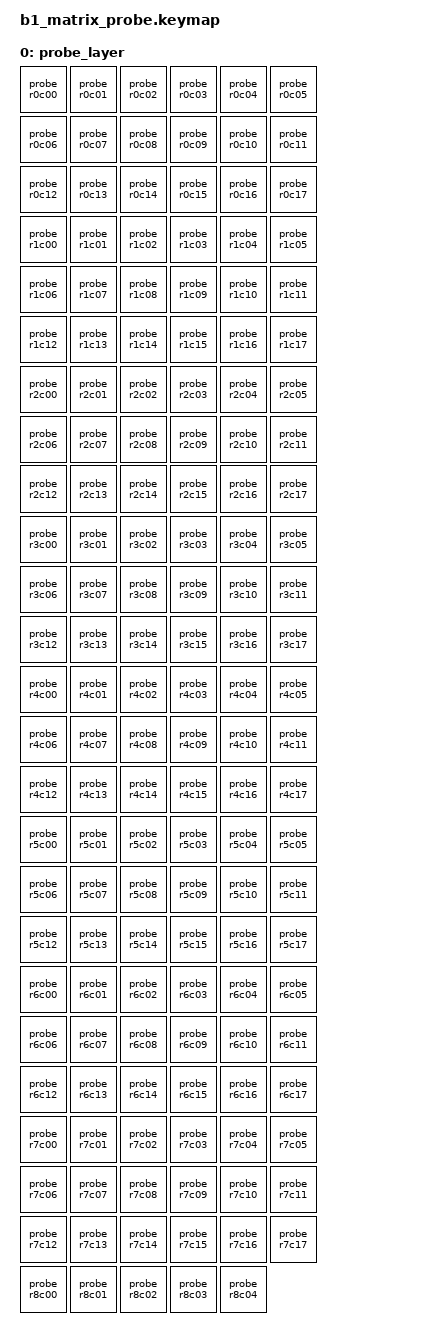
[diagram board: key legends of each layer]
/*
 * Keychron B1 Pro matrix probe keymap
 *
 * Every electrical scan coordinate emits a token of the form:
 *   RrCcc<space>
 *
 * Example:
 *   R0C00 R3C14 R7C05
 *
 * The final five entries (R8C00..R8C04) are the direct GPIO inputs
 * in Keychron's composite scanner.
 *
 * IMPORTANT: This is diagnostic firmware, not a usable typing layout.
 */

#include <behaviors.dtsi>
#include <dt-bindings/zmk/keys.h>

#include <dt-bindings/zmk/outputs.h>

/ {
    /*
     * Keychron's behavior_outputs node is declared /omit-if-no-ref/.
     * Several Keychron-specific source files call helper functions that are
     * implemented by behavior_outputs.c, so keep a DT reference to &out even
     * though the diagnostic layer itself does not use output switching.
     */
    ZMK_MACRO(probe_keep_outputs, bindings = <&out OUT_BLE>;)

    ZMK_MACRO(probe_r0c00, bindings = <&kp R &kp N0 &kp C &kp N0 &kp N0 &kp SPACE>;)
    ZMK_MACRO(probe_r0c01, bindings = <&kp R &kp N0 &kp C &kp N0 &kp N1 &kp SPACE>;)
    ZMK_MACRO(probe_r0c02, bindings = <&kp R &kp N0 &kp C &kp N0 &kp N2 &kp SPACE>;)
    ZMK_MACRO(probe_r0c03, bindings = <&kp R &kp N0 &kp C &kp N0 &kp N3 &kp SPACE>;)
    ZMK_MACRO(probe_r0c04, bindings = <&kp R &kp N0 &kp C &kp N0 &kp N4 &kp SPACE>;)
    ZMK_MACRO(probe_r0c05, bindings = <&kp R &kp N0 &kp C &kp N0 &kp N5 &kp SPACE>;)
    ZMK_MACRO(probe_r0c06, bindings = <&kp R &kp N0 &kp C &kp N0 &kp N6 &kp SPACE>;)
    ZMK_MACRO(probe_r0c07, bindings = <&kp R &kp N0 &kp C &kp N0 &kp N7 &kp SPACE>;)
    ZMK_MACRO(probe_r0c08, bindings = <&kp R &kp N0 &kp C &kp N0 &kp N8 &kp SPACE>;)
    ZMK_MACRO(probe_r0c09, bindings = <&kp R &kp N0 &kp C &kp N0 &kp N9 &kp SPACE>;)
    ZMK_MACRO(probe_r0c10, bindings = <&kp R &kp N0 &kp C &kp N1 &kp N0 &kp SPACE>;)
    ZMK_MACRO(probe_r0c11, bindings = <&kp R &kp N0 &kp C &kp N1 &kp N1 &kp SPACE>;)
    ZMK_MACRO(probe_r0c12, bindings = <&kp R &kp N0 &kp C &kp N1 &kp N2 &kp SPACE>;)
    ZMK_MACRO(probe_r0c13, bindings = <&kp R &kp N0 &kp C &kp N1 &kp N3 &kp SPACE>;)
    ZMK_MACRO(probe_r0c14, bindings = <&kp R &kp N0 &kp C &kp N1 &kp N4 &kp SPACE>;)
    ZMK_MACRO(probe_r0c15, bindings = <&kp R &kp N0 &kp C &kp N1 &kp N5 &kp SPACE>;)
    ZMK_MACRO(probe_r0c16, bindings = <&kp R &kp N0 &kp C &kp N1 &kp N6 &kp SPACE>;)
    ZMK_MACRO(probe_r0c17, bindings = <&kp R &kp N0 &kp C &kp N1 &kp N7 &kp SPACE>;)
    ZMK_MACRO(probe_r1c00, bindings = <&kp R &kp N1 &kp C &kp N0 &kp N0 &kp SPACE>;)
    ZMK_MACRO(probe_r1c01, bindings = <&kp R &kp N1 &kp C &kp N0 &kp N1 &kp SPACE>;)
    ZMK_MACRO(probe_r1c02, bindings = <&kp R &kp N1 &kp C &kp N0 &kp N2 &kp SPACE>;)
    ZMK_MACRO(probe_r1c03, bindings = <&kp R &kp N1 &kp C &kp N0 &kp N3 &kp SPACE>;)
    ZMK_MACRO(probe_r1c04, bindings = <&kp R &kp N1 &kp C &kp N0 &kp N4 &kp SPACE>;)
    ZMK_MACRO(probe_r1c05, bindings = <&kp R &kp N1 &kp C &kp N0 &kp N5 &kp SPACE>;)
    ZMK_MACRO(probe_r1c06, bindings = <&kp R &kp N1 &kp C &kp N0 &kp N6 &kp SPACE>;)
    ZMK_MACRO(probe_r1c07, bindings = <&kp R &kp N1 &kp C &kp N0 &kp N7 &kp SPACE>;)
    ZMK_MACRO(probe_r1c08, bindings = <&kp R &kp N1 &kp C &kp N0 &kp N8 &kp SPACE>;)
    ZMK_MACRO(probe_r1c09, bindings = <&kp R &kp N1 &kp C &kp N0 &kp N9 &kp SPACE>;)
    ZMK_MACRO(probe_r1c10, bindings = <&kp R &kp N1 &kp C &kp N1 &kp N0 &kp SPACE>;)
    ZMK_MACRO(probe_r1c11, bindings = <&kp R &kp N1 &kp C &kp N1 &kp N1 &kp SPACE>;)
    ZMK_MACRO(probe_r1c12, bindings = <&kp R &kp N1 &kp C &kp N1 &kp N2 &kp SPACE>;)
    ZMK_MACRO(probe_r1c13, bindings = <&kp R &kp N1 &kp C &kp N1 &kp N3 &kp SPACE>;)
    ZMK_MACRO(probe_r1c14, bindings = <&kp R &kp N1 &kp C &kp N1 &kp N4 &kp SPACE>;)
    ZMK_MACRO(probe_r1c15, bindings = <&kp R &kp N1 &kp C &kp N1 &kp N5 &kp SPACE>;)
    ZMK_MACRO(probe_r1c16, bindings = <&kp R &kp N1 &kp C &kp N1 &kp N6 &kp SPACE>;)
    ZMK_MACRO(probe_r1c17, bindings = <&kp R &kp N1 &kp C &kp N1 &kp N7 &kp SPACE>;)
    ZMK_MACRO(probe_r2c00, bindings = <&kp R &kp N2 &kp C &kp N0 &kp N0 &kp SPACE>;)
    ZMK_MACRO(probe_r2c01, bindings = <&kp R &kp N2 &kp C &kp N0 &kp N1 &kp SPACE>;)
    ZMK_MACRO(probe_r2c02, bindings = <&kp R &kp N2 &kp C &kp N0 &kp N2 &kp SPACE>;)
    ZMK_MACRO(probe_r2c03, bindings = <&kp R &kp N2 &kp C &kp N0 &kp N3 &kp SPACE>;)
    ZMK_MACRO(probe_r2c04, bindings = <&kp R &kp N2 &kp C &kp N0 &kp N4 &kp SPACE>;)
    ZMK_MACRO(probe_r2c05, bindings = <&kp R &kp N2 &kp C &kp N0 &kp N5 &kp SPACE>;)
    ZMK_MACRO(probe_r2c06, bindings = <&kp R &kp N2 &kp C &kp N0 &kp N6 &kp SPACE>;)
    ZMK_MACRO(probe_r2c07, bindings = <&kp R &kp N2 &kp C &kp N0 &kp N7 &kp SPACE>;)
    ZMK_MACRO(probe_r2c08, bindings = <&kp R &kp N2 &kp C &kp N0 &kp N8 &kp SPACE>;)
    ZMK_MACRO(probe_r2c09, bindings = <&kp R &kp N2 &kp C &kp N0 &kp N9 &kp SPACE>;)
    ZMK_MACRO(probe_r2c10, bindings = <&kp R &kp N2 &kp C &kp N1 &kp N0 &kp SPACE>;)
    ZMK_MACRO(probe_r2c11, bindings = <&kp R &kp N2 &kp C &kp N1 &kp N1 &kp SPACE>;)
    ZMK_MACRO(probe_r2c12, bindings = <&kp R &kp N2 &kp C &kp N1 &kp N2 &kp SPACE>;)
    ZMK_MACRO(probe_r2c13, bindings = <&kp R &kp N2 &kp C &kp N1 &kp N3 &kp SPACE>;)
    ZMK_MACRO(probe_r2c14, bindings = <&kp R &kp N2 &kp C &kp N1 &kp N4 &kp SPACE>;)
    ZMK_MACRO(probe_r2c15, bindings = <&kp R &kp N2 &kp C &kp N1 &kp N5 &kp SPACE>;)
    ZMK_MACRO(probe_r2c16, bindings = <&kp R &kp N2 &kp C &kp N1 &kp N6 &kp SPACE>;)
    ZMK_MACRO(probe_r2c17, bindings = <&kp R &kp N2 &kp C &kp N1 &kp N7 &kp SPACE>;)
    ZMK_MACRO(probe_r3c00, bindings = <&kp R &kp N3 &kp C &kp N0 &kp N0 &kp SPACE>;)
    ZMK_MACRO(probe_r3c01, bindings = <&kp R &kp N3 &kp C &kp N0 &kp N1 &kp SPACE>;)
    ZMK_MACRO(probe_r3c02, bindings = <&kp R &kp N3 &kp C &kp N0 &kp N2 &kp SPACE>;)
    ZMK_MACRO(probe_r3c03, bindings = <&kp R &kp N3 &kp C &kp N0 &kp N3 &kp SPACE>;)
    ZMK_MACRO(probe_r3c04, bindings = <&kp R &kp N3 &kp C &kp N0 &kp N4 &kp SPACE>;)
    ZMK_MACRO(probe_r3c05, bindings = <&kp R &kp N3 &kp C &kp N0 &kp N5 &kp SPACE>;)
    ZMK_MACRO(probe_r3c06, bindings = <&kp R &kp N3 &kp C &kp N0 &kp N6 &kp SPACE>;)
    ZMK_MACRO(probe_r3c07, bindings = <&kp R &kp N3 &kp C &kp N0 &kp N7 &kp SPACE>;)
    ZMK_MACRO(probe_r3c08, bindings = <&kp R &kp N3 &kp C &kp N0 &kp N8 &kp SPACE>;)
    ZMK_MACRO(probe_r3c09, bindings = <&kp R &kp N3 &kp C &kp N0 &kp N9 &kp SPACE>;)
    ZMK_MACRO(probe_r3c10, bindings = <&kp R &kp N3 &kp C &kp N1 &kp N0 &kp SPACE>;)
    ZMK_MACRO(probe_r3c11, bindings = <&kp R &kp N3 &kp C &kp N1 &kp N1 &kp SPACE>;)
    ZMK_MACRO(probe_r3c12, bindings = <&kp R &kp N3 &kp C &kp N1 &kp N2 &kp SPACE>;)
    ZMK_MACRO(probe_r3c13, bindings = <&kp R &kp N3 &kp C &kp N1 &kp N3 &kp SPACE>;)
    ZMK_MACRO(probe_r3c14, bindings = <&kp R &kp N3 &kp C &kp N1 &kp N4 &kp SPACE>;)
    ZMK_MACRO(probe_r3c15, bindings = <&kp R &kp N3 &kp C &kp N1 &kp N5 &kp SPACE>;)
    ZMK_MACRO(probe_r3c16, bindings = <&kp R &kp N3 &kp C &kp N1 &kp N6 &kp SPACE>;)
    ZMK_MACRO(probe_r3c17, bindings = <&kp R &kp N3 &kp C &kp N1 &kp N7 &kp SPACE>;)
    ZMK_MACRO(probe_r4c00, bindings = <&kp R &kp N4 &kp C &kp N0 &kp N0 &kp SPACE>;)
    ZMK_MACRO(probe_r4c01, bindings = <&kp R &kp N4 &kp C &kp N0 &kp N1 &kp SPACE>;)
    ZMK_MACRO(probe_r4c02, bindings = <&kp R &kp N4 &kp C &kp N0 &kp N2 &kp SPACE>;)
    ZMK_MACRO(probe_r4c03, bindings = <&kp R &kp N4 &kp C &kp N0 &kp N3 &kp SPACE>;)
    ZMK_MACRO(probe_r4c04, bindings = <&kp R &kp N4 &kp C &kp N0 &kp N4 &kp SPACE>;)
    ZMK_MACRO(probe_r4c05, bindings = <&kp R &kp N4 &kp C &kp N0 &kp N5 &kp SPACE>;)
    ZMK_MACRO(probe_r4c06, bindings = <&kp R &kp N4 &kp C &kp N0 &kp N6 &kp SPACE>;)
    ZMK_MACRO(probe_r4c07, bindings = <&kp R &kp N4 &kp C &kp N0 &kp N7 &kp SPACE>;)
    ZMK_MACRO(probe_r4c08, bindings = <&kp R &kp N4 &kp C &kp N0 &kp N8 &kp SPACE>;)
    ZMK_MACRO(probe_r4c09, bindings = <&kp R &kp N4 &kp C &kp N0 &kp N9 &kp SPACE>;)
    ZMK_MACRO(probe_r4c10, bindings = <&kp R &kp N4 &kp C &kp N1 &kp N0 &kp SPACE>;)
    ZMK_MACRO(probe_r4c11, bindings = <&kp R &kp N4 &kp C &kp N1 &kp N1 &kp SPACE>;)
    ZMK_MACRO(probe_r4c12, bindings = <&kp R &kp N4 &kp C &kp N1 &kp N2 &kp SPACE>;)
    ZMK_MACRO(probe_r4c13, bindings = <&kp R &kp N4 &kp C &kp N1 &kp N3 &kp SPACE>;)
    ZMK_MACRO(probe_r4c14, bindings = <&kp R &kp N4 &kp C &kp N1 &kp N4 &kp SPACE>;)
    ZMK_MACRO(probe_r4c15, bindings = <&kp R &kp N4 &kp C &kp N1 &kp N5 &kp SPACE>;)
    ZMK_MACRO(probe_r4c16, bindings = <&kp R &kp N4 &kp C &kp N1 &kp N6 &kp SPACE>;)
    ZMK_MACRO(probe_r4c17, bindings = <&kp R &kp N4 &kp C &kp N1 &kp N7 &kp SPACE>;)
    ZMK_MACRO(probe_r5c00, bindings = <&kp R &kp N5 &kp C &kp N0 &kp N0 &kp SPACE>;)
    ZMK_MACRO(probe_r5c01, bindings = <&kp R &kp N5 &kp C &kp N0 &kp N1 &kp SPACE>;)
    ZMK_MACRO(probe_r5c02, bindings = <&kp R &kp N5 &kp C &kp N0 &kp N2 &kp SPACE>;)
    ZMK_MACRO(probe_r5c03, bindings = <&kp R &kp N5 &kp C &kp N0 &kp N3 &kp SPACE>;)
    ZMK_MACRO(probe_r5c04, bindings = <&kp R &kp N5 &kp C &kp N0 &kp N4 &kp SPACE>;)
    ZMK_MACRO(probe_r5c05, bindings = <&kp R &kp N5 &kp C &kp N0 &kp N5 &kp SPACE>;)
    ZMK_MACRO(probe_r5c06, bindings = <&kp R &kp N5 &kp C &kp N0 &kp N6 &kp SPACE>;)
    ZMK_MACRO(probe_r5c07, bindings = <&kp R &kp N5 &kp C &kp N0 &kp N7 &kp SPACE>;)
    ZMK_MACRO(probe_r5c08, bindings = <&kp R &kp N5 &kp C &kp N0 &kp N8 &kp SPACE>;)
    ZMK_MACRO(probe_r5c09, bindings = <&kp R &kp N5 &kp C &kp N0 &kp N9 &kp SPACE>;)
    ZMK_MACRO(probe_r5c10, bindings = <&kp R &kp N5 &kp C &kp N1 &kp N0 &kp SPACE>;)
    ZMK_MACRO(probe_r5c11, bindings = <&kp R &kp N5 &kp C &kp N1 &kp N1 &kp SPACE>;)
    ZMK_MACRO(probe_r5c12, bindings = <&kp R &kp N5 &kp C &kp N1 &kp N2 &kp SPACE>;)
    ZMK_MACRO(probe_r5c13, bindings = <&kp R &kp N5 &kp C &kp N1 &kp N3 &kp SPACE>;)
    ZMK_MACRO(probe_r5c14, bindings = <&kp R &kp N5 &kp C &kp N1 &kp N4 &kp SPACE>;)
    ZMK_MACRO(probe_r5c15, bindings = <&kp R &kp N5 &kp C &kp N1 &kp N5 &kp SPACE>;)
    ZMK_MACRO(probe_r5c16, bindings = <&kp R &kp N5 &kp C &kp N1 &kp N6 &kp SPACE>;)
    ZMK_MACRO(probe_r5c17, bindings = <&kp R &kp N5 &kp C &kp N1 &kp N7 &kp SPACE>;)
    ZMK_MACRO(probe_r6c00, bindings = <&kp R &kp N6 &kp C &kp N0 &kp N0 &kp SPACE>;)
    ZMK_MACRO(probe_r6c01, bindings = <&kp R &kp N6 &kp C &kp N0 &kp N1 &kp SPACE>;)
    ZMK_MACRO(probe_r6c02, bindings = <&kp R &kp N6 &kp C &kp N0 &kp N2 &kp SPACE>;)
    ZMK_MACRO(probe_r6c03, bindings = <&kp R &kp N6 &kp C &kp N0 &kp N3 &kp SPACE>;)
    ZMK_MACRO(probe_r6c04, bindings = <&kp R &kp N6 &kp C &kp N0 &kp N4 &kp SPACE>;)
    ZMK_MACRO(probe_r6c05, bindings = <&kp R &kp N6 &kp C &kp N0 &kp N5 &kp SPACE>;)
    ZMK_MACRO(probe_r6c06, bindings = <&kp R &kp N6 &kp C &kp N0 &kp N6 &kp SPACE>;)
    ZMK_MACRO(probe_r6c07, bindings = <&kp R &kp N6 &kp C &kp N0 &kp N7 &kp SPACE>;)
    ZMK_MACRO(probe_r6c08, bindings = <&kp R &kp N6 &kp C &kp N0 &kp N8 &kp SPACE>;)
    ZMK_MACRO(probe_r6c09, bindings = <&kp R &kp N6 &kp C &kp N0 &kp N9 &kp SPACE>;)
    ZMK_MACRO(probe_r6c10, bindings = <&kp R &kp N6 &kp C &kp N1 &kp N0 &kp SPACE>;)
    ZMK_MACRO(probe_r6c11, bindings = <&kp R &kp N6 &kp C &kp N1 &kp N1 &kp SPACE>;)
    ZMK_MACRO(probe_r6c12, bindings = <&kp R &kp N6 &kp C &kp N1 &kp N2 &kp SPACE>;)
    ZMK_MACRO(probe_r6c13, bindings = <&kp R &kp N6 &kp C &kp N1 &kp N3 &kp SPACE>;)
    ZMK_MACRO(probe_r6c14, bindings = <&kp R &kp N6 &kp C &kp N1 &kp N4 &kp SPACE>;)
    ZMK_MACRO(probe_r6c15, bindings = <&kp R &kp N6 &kp C &kp N1 &kp N5 &kp SPACE>;)
    ZMK_MACRO(probe_r6c16, bindings = <&kp R &kp N6 &kp C &kp N1 &kp N6 &kp SPACE>;)
    ZMK_MACRO(probe_r6c17, bindings = <&kp R &kp N6 &kp C &kp N1 &kp N7 &kp SPACE>;)
    ZMK_MACRO(probe_r7c00, bindings = <&kp R &kp N7 &kp C &kp N0 &kp N0 &kp SPACE>;)
    ZMK_MACRO(probe_r7c01, bindings = <&kp R &kp N7 &kp C &kp N0 &kp N1 &kp SPACE>;)
    ZMK_MACRO(probe_r7c02, bindings = <&kp R &kp N7 &kp C &kp N0 &kp N2 &kp SPACE>;)
    ZMK_MACRO(probe_r7c03, bindings = <&kp R &kp N7 &kp C &kp N0 &kp N3 &kp SPACE>;)
    ZMK_MACRO(probe_r7c04, bindings = <&kp R &kp N7 &kp C &kp N0 &kp N4 &kp SPACE>;)
    ZMK_MACRO(probe_r7c05, bindings = <&kp R &kp N7 &kp C &kp N0 &kp N5 &kp SPACE>;)
    ZMK_MACRO(probe_r7c06, bindings = <&kp R &kp N7 &kp C &kp N0 &kp N6 &kp SPACE>;)
    ZMK_MACRO(probe_r7c07, bindings = <&kp R &kp N7 &kp C &kp N0 &kp N7 &kp SPACE>;)
    ZMK_MACRO(probe_r7c08, bindings = <&kp R &kp N7 &kp C &kp N0 &kp N8 &kp SPACE>;)
    ZMK_MACRO(probe_r7c09, bindings = <&kp R &kp N7 &kp C &kp N0 &kp N9 &kp SPACE>;)
    ZMK_MACRO(probe_r7c10, bindings = <&kp R &kp N7 &kp C &kp N1 &kp N0 &kp SPACE>;)
    ZMK_MACRO(probe_r7c11, bindings = <&kp R &kp N7 &kp C &kp N1 &kp N1 &kp SPACE>;)
    ZMK_MACRO(probe_r7c12, bindings = <&kp R &kp N7 &kp C &kp N1 &kp N2 &kp SPACE>;)
    ZMK_MACRO(probe_r7c13, bindings = <&kp R &kp N7 &kp C &kp N1 &kp N3 &kp SPACE>;)
    ZMK_MACRO(probe_r7c14, bindings = <&kp R &kp N7 &kp C &kp N1 &kp N4 &kp SPACE>;)
    ZMK_MACRO(probe_r7c15, bindings = <&kp R &kp N7 &kp C &kp N1 &kp N5 &kp SPACE>;)
    ZMK_MACRO(probe_r7c16, bindings = <&kp R &kp N7 &kp C &kp N1 &kp N6 &kp SPACE>;)
    ZMK_MACRO(probe_r7c17, bindings = <&kp R &kp N7 &kp C &kp N1 &kp N7 &kp SPACE>;)
    ZMK_MACRO(probe_r8c00, bindings = <&kp R &kp N8 &kp C &kp N0 &kp N0 &kp SPACE>;)
    ZMK_MACRO(probe_r8c01, bindings = <&kp R &kp N8 &kp C &kp N0 &kp N1 &kp SPACE>;)
    ZMK_MACRO(probe_r8c02, bindings = <&kp R &kp N8 &kp C &kp N0 &kp N2 &kp SPACE>;)
    ZMK_MACRO(probe_r8c03, bindings = <&kp R &kp N8 &kp C &kp N0 &kp N3 &kp SPACE>;)
    ZMK_MACRO(probe_r8c04, bindings = <&kp R &kp N8 &kp C &kp N0 &kp N4 &kp SPACE>;)

    /* Diagnostic firmware intentionally has no software bootloader combo.
     * Use the B1 Pro recessed hardware bootloader/reset button for recovery.
     */

    keymap {
        compatible = "zmk,keymap";

        probe_layer {
            bindings = <
                &probe_r0c00 &probe_r0c01 &probe_r0c02 &probe_r0c03 &probe_r0c04 &probe_r0c05
                &probe_r0c06 &probe_r0c07 &probe_r0c08 &probe_r0c09 &probe_r0c10 &probe_r0c11
                &probe_r0c12 &probe_r0c13 &probe_r0c14 &probe_r0c15 &probe_r0c16 &probe_r0c17
                &probe_r1c00 &probe_r1c01 &probe_r1c02 &probe_r1c03 &probe_r1c04 &probe_r1c05
                &probe_r1c06 &probe_r1c07 &probe_r1c08 &probe_r1c09 &probe_r1c10 &probe_r1c11
                &probe_r1c12 &probe_r1c13 &probe_r1c14 &probe_r1c15 &probe_r1c16 &probe_r1c17
                &probe_r2c00 &probe_r2c01 &probe_r2c02 &probe_r2c03 &probe_r2c04 &probe_r2c05
                &probe_r2c06 &probe_r2c07 &probe_r2c08 &probe_r2c09 &probe_r2c10 &probe_r2c11
                &probe_r2c12 &probe_r2c13 &probe_r2c14 &probe_r2c15 &probe_r2c16 &probe_r2c17
                &probe_r3c00 &probe_r3c01 &probe_r3c02 &probe_r3c03 &probe_r3c04 &probe_r3c05
                &probe_r3c06 &probe_r3c07 &probe_r3c08 &probe_r3c09 &probe_r3c10 &probe_r3c11
                &probe_r3c12 &probe_r3c13 &probe_r3c14 &probe_r3c15 &probe_r3c16 &probe_r3c17
                &probe_r4c00 &probe_r4c01 &probe_r4c02 &probe_r4c03 &probe_r4c04 &probe_r4c05
                &probe_r4c06 &probe_r4c07 &probe_r4c08 &probe_r4c09 &probe_r4c10 &probe_r4c11
                &probe_r4c12 &probe_r4c13 &probe_r4c14 &probe_r4c15 &probe_r4c16 &probe_r4c17
                &probe_r5c00 &probe_r5c01 &probe_r5c02 &probe_r5c03 &probe_r5c04 &probe_r5c05
                &probe_r5c06 &probe_r5c07 &probe_r5c08 &probe_r5c09 &probe_r5c10 &probe_r5c11
                &probe_r5c12 &probe_r5c13 &probe_r5c14 &probe_r5c15 &probe_r5c16 &probe_r5c17
                &probe_r6c00 &probe_r6c01 &probe_r6c02 &probe_r6c03 &probe_r6c04 &probe_r6c05
                &probe_r6c06 &probe_r6c07 &probe_r6c08 &probe_r6c09 &probe_r6c10 &probe_r6c11
                &probe_r6c12 &probe_r6c13 &probe_r6c14 &probe_r6c15 &probe_r6c16 &probe_r6c17
                &probe_r7c00 &probe_r7c01 &probe_r7c02 &probe_r7c03 &probe_r7c04 &probe_r7c05
                &probe_r7c06 &probe_r7c07 &probe_r7c08 &probe_r7c09 &probe_r7c10 &probe_r7c11
                &probe_r7c12 &probe_r7c13 &probe_r7c14 &probe_r7c15 &probe_r7c16 &probe_r7c17
                &probe_r8c00 &probe_r8c01 &probe_r8c02 &probe_r8c03 &probe_r8c04
            >;
        };
    };
};
